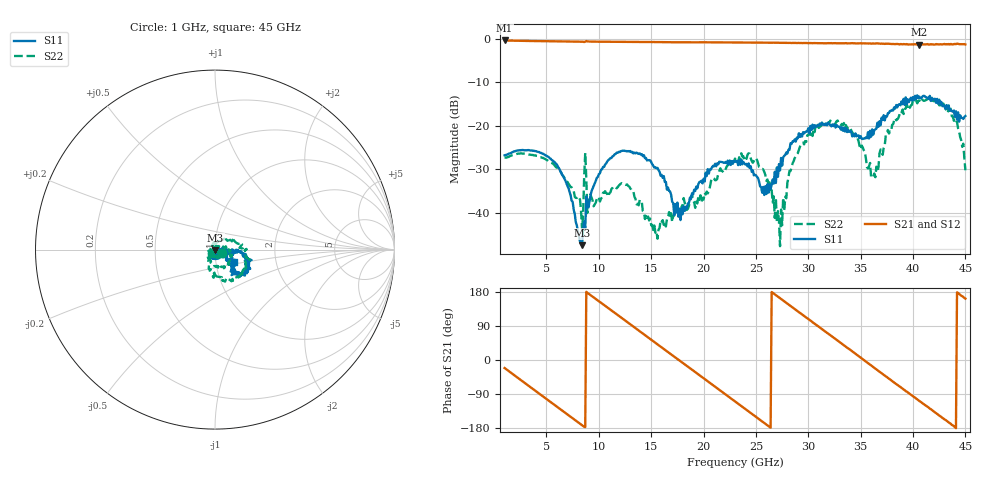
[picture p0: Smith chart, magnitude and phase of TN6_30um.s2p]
!Keysight Technologies,N5247B,MY61255062,A.19.80.06
!Date: Monday, May 18, 2026 12:16:23
!Correction: S11(Cdelta 2-Port  )
!S21(Cdelta 2-Port  )
!S12(Cdelta 2-Port  )
!S22(Cdelta 2-Port  )
!S2P File: Measurements: S11, S21, S12, S22:
# Hz S  dB  R 50
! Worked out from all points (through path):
!   441 points, 1 GHz to 45 GHz, reference 50 ohm
!   highest |S21| = -0.41 dB at 1 GHz (marker M1); lowest = -1.4 dB at 40.6 GHz (marker M2)
!   group delay of S21, straight-line fit = 56.6 ps
!   lowest |S11| = -47.4 dB at 8.4 GHz (marker M3), VSWR 1.01, Z = 50.1 - j0.408 ohm
!   |S11| at or under -10 dB: start of sweep to end of sweep
!   |S22| runs from -47.6 to -13.4 dB; largest |S21 - S12| = 0.017
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1e9  -26.78 -21.1  -0.41 -21.2  -0.41 -21.2  -27.21 -22.8
4.6e9  -26.40 -114.7  -0.57 -94.8  -0.57 -94.8  -27.35 -115.7
6.7e9  -32.08 -157.8  -0.61 -137.6  -0.61 -137.6  -31.93 -153.6
8.4e9  -47.39 -72.5  -0.67 -172.4  -0.67 -172.4  -43.92 -146.5
8.8e9  -36.21 -29.2  -0.54 179.9  -0.55 179.8  -32.07 70.1
9.8e9  -31.97 -53.8  -0.69 159.2  -0.69 159.2  -36.81 -117.4
1.24e10  -25.70 -96.1  -0.76 106.5  -0.76 106.5  -33.47 -129.2
1.57e10  -30.19 -133.7  -0.78 39.2  -0.79 39.2  -43.86 -98.2
1.76e10  -40.87 -107.0  -0.83 0.7  -0.83 0.6  -39.88 -68.5
1.89e10  -35.49 -51.4  -0.84 -25.7  -0.84 -25.7  -35.88 -55.2
2.11e10  -28.71 -52.0  -0.85 -70.5  -0.86 -70.6  -32.49 -34.8
2.3e10  -28.13 -65.6  -0.87 -109.3  -0.88 -109.4  -27.51 -59.1
2.51e10  -31.71 -68.2  -0.90 -152.0  -0.91 -152.1  -27.84 -97.1
2.73e10  -30.23 1.5  -0.95 163.0  -0.96 163.0  -47.63 115.0
2.84e10  -24.14 -0.3  -1.00 140.7  -0.99 140.5  -29.59 39.5
3.04e10  -19.74 -17.8  -1.03 99.7  -1.02 99.8  -22.34 -9.5
3.43e10  -21.97 -37.9  -1.05 20.4  -1.04 20.4  -21.90 -99.8
3.62e10  -22.02 -15.4  -1.10 -18.6  -1.10 -18.3  -31.67 148.4
3.77e10  -17.05 -6.6  -1.17 -49.1  -1.17 -49.3  -21.78 45.6
4.06e10  -13.29 -28.5  -1.36 -108.2  -1.27 -107.6  -14.27 -28.3
4.36e10  -16.28 -45.3  -1.21 -168.0  -1.24 -169.0  -16.07 -93.0
4.5e10  -17.74 -33.6  -1.33 162.0  -1.31 161.7  -30.21 -139.5
